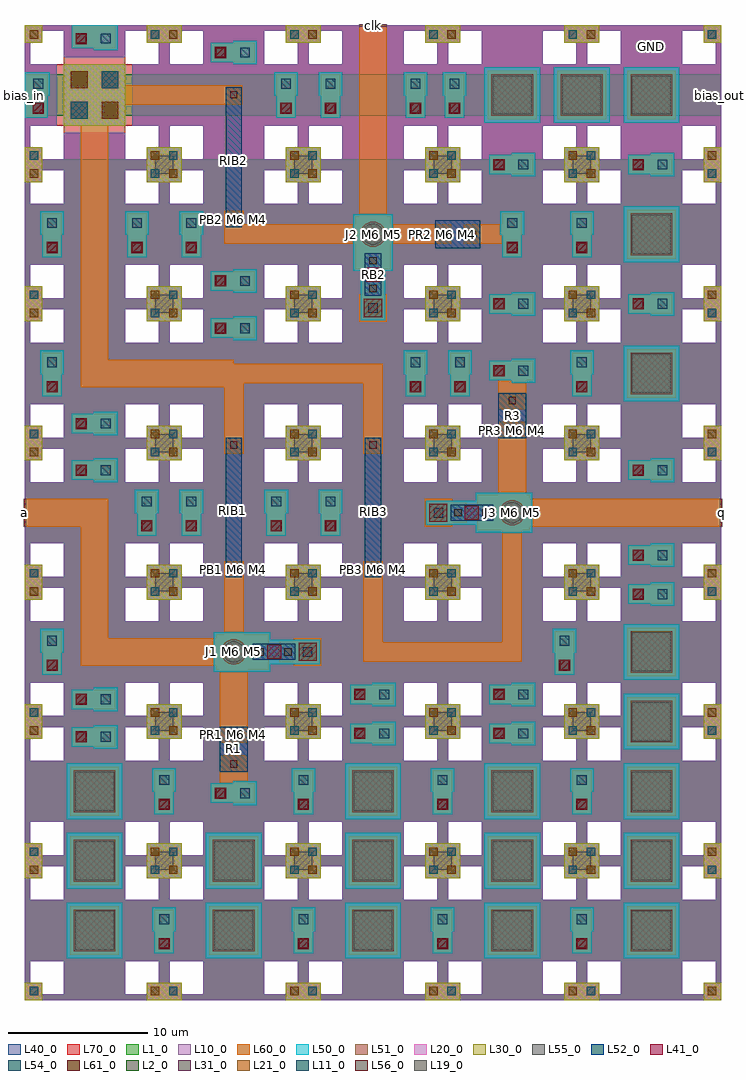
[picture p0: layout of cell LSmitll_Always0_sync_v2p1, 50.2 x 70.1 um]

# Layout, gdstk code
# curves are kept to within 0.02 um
from math import pi, radians
import gdstk
lib = gdstk.Library(unit=1e-6, precision=1e-09)
def R(c, l, rs):  # rectangles x0, y0, x1, y1
    for r in rs: c.add(gdstk.rectangle(r[:2], r[2:], *l))
def P(c, l, *ps):  # polygons
    for p in ps: c.add(gdstk.Polygon(p, *l))
L1_0 = (1, 0)
L2_0 = (2, 0)
L10_0 = (10, 0)
L11_0 = (11, 0)
L19_0 = (19, 0)
L20_0 = (20, 0)
L21_0 = (21, 0)
L30_0 = (30, 0)
L31_0 = (31, 0)
L40_0 = (40, 0)
L41_0 = (41, 0)
L50_0 = (50, 0)
L51_0 = (51, 0)
L52_0 = (52, 0)
L54_0 = (54, 0)
L55_0 = (55, 0)
L56_0 = (56, 0)
L60_0 = (60, 0)
L61_0 = (61, 0)
L70_0 = (70, 0)

ls_tr_m0 = lib.new_cell('ls_tr_M0')
P(ls_tr_m0, L1_0, [(0,0),(0,10),(1.25,10),(1.25,8.75),(0.4,8.75),(0.4,1.25),(1.25,1.25),(1.25,0.4),(2.8,0.4),(2.8,2.8),(0.4,2.8),(0.4,7.2),(2.8,7.2),(2.8,9.6),(1.25,9.6),(1.25,10),(7.2,10),(7.2,0.4),(8.75,0.4),(8.75,1.25),(9.6,1.25),(9.6,2.8),(7.2,2.8),(7.2,7.2),(9.6,7.2),(9.6,8.75),(8.75,8.75),(8.75,9.6),(7.2,9.6),(7.2,10),(10,10),(10,0)])

ls_ib_175 = lib.new_cell('ls_ib_175')
R(ls_ib_175, L52_0, [(-0.575,0,0.575,10.05)])
R(ls_ib_175, L56_0, [(-0.26,0.29,0.26,0.81), (-0.26,9.26,0.26,9.78)])
R(ls_ib_175, L60_0, [(-0.625,-0.1,0.625,1.175), (-0.625,8.875,0.625,10.15)])

ls_tr_m7 = lib.new_cell('ls_tr_M7')
P(ls_tr_m7, L70_0, [(0,0),(0,10),(1.25,10),(1.25,8.75),(0.4,8.75),(0.4,1.25),(1.25,1.25),(1.25,0.4),(2.8,0.4),(2.8,2.8),(0.4,2.8),(0.4,7.2),(2.8,7.2),(2.8,9.6),(1.25,9.6),(1.25,10),(7.2,10),(7.2,0.4),(8.75,0.4),(8.75,1.25),(9.6,1.25),(9.6,2.8),(7.2,2.8),(7.2,7.2),(9.6,7.2),(9.6,8.75),(8.75,8.75),(8.75,9.6),(7.2,9.6),(7.2,10),(10,10),(10,0)])

ls_tr_u_m4_alt = lib.new_cell('ls_tr_u_M4_alt')
R(ls_tr_u_m4_alt, L1_0, [(0,0,1.25,1.25), (8.75,0,10,1.25), (0,8.75,1.25,10), (8.75,8.75,10,10)])
R(ls_tr_u_m4_alt, L2_0, [(9.05,0.35,9.65,0.95), (0.35,9.05,0.95,9.65)])
R(ls_tr_u_m4_alt, L10_0, [(0,0,1.25,1.25), (1.25,0,8.75,0.4), (8.75,0,10,1.25), (2.8,0.4,7.2,9.6), (0,1.25,0.4,8.75), (9.6,1.25,10,8.75), (0.4,2.8,2.8,7.2), (7.2,2.8,9.6,7.2), (0,8.75,1.25,10), (8.75,8.75,10,10), (1.25,9.6,8.75,10)])
R(ls_tr_u_m4_alt, L11_0, [(0.35,0.35,0.95,0.95), (9.05,9.05,9.65,9.65)])
R(ls_tr_u_m4_alt, L20_0, [(0,0,1.25,1.25), (8.75,0,10,1.25), (0,8.75,1.25,10), (8.75,8.75,10,10)])
R(ls_tr_u_m4_alt, L21_0, [(9.05,0.35,9.65,0.95), (0.35,9.05,0.95,9.65)])
R(ls_tr_u_m4_alt, L30_0, [(0,0,1.25,1.25), (8.75,0,10,1.25), (0,8.75,1.25,10), (8.75,8.75,10,10)])
R(ls_tr_u_m4_alt, L31_0, [(0.35,0.35,0.95,0.95), (9.05,9.05,9.65,9.65)])
P(ls_tr_u_m4_alt, L40_0, [(0,0),(0,10),(1.25,10),(1.25,8.75),(0.4,8.75),(0.4,1.25),(1.25,1.25),(1.25,0.4),(2.8,0.4),(2.8,2.8),(0.4,2.8),(0.4,7.2),(2.8,7.2),(2.8,9.6),(1.25,9.6),(1.25,10),(7.2,10),(7.2,0.4),(8.75,0.4),(8.75,1.25),(9.6,1.25),(9.6,2.8),(7.2,2.8),(7.2,7.2),(9.6,7.2),(9.6,8.75),(8.75,8.75),(8.75,9.6),(7.2,9.6),(7.2,10),(10,10),(10,0)])
ls_tr_u_m4_alt.add(gdstk.Reference(ls_tr_m7, (0,0)))

ls_conn_m5m6m7 = lib.new_cell('ls_conn_M5M6M7')
R(ls_conn_m5m6m7, L50_0, [(-0.5,-0.5,1.2,1.2)])
R(ls_conn_m5m6m7, L54_0, [(0,0,0.7,0.7)])
R(ls_conn_m5m6m7, L60_0, [(-0.65,-0.65,1.35,1.35)])
R(ls_conn_m5m6m7, L61_0, [(-0.3,-0.3,1,1)])
R(ls_conn_m5m6m7, L70_0, [(-0.65,-0.65,1.35,1.35)])

ls_jj_250_sg = lib.new_cell('ls_jj_250_sg')
R(ls_jj_250_sg, L41_0, [(-0.5,2.4,0.5,3.4)])
R(ls_jj_250_sg, L50_0, [(-1.425,-1.425,1.425,2.625), (-0.875,2.625,0.875,6.175)])
P(ls_jj_250_sg, L51_0, [(0,-0.91),(-0.18,-0.895),(-0.35,-0.84),(-0.645,-0.645),(-0.84,-0.35),(-0.91,0),(-0.895,0.18),(-0.84,0.35),(-0.645,0.645),(-0.35,0.84),(-0.18,0.895),(0,0.91),(0.18,0.895),(0.35,0.84),(0.645,0.645),(0.84,0.35),(0.895,0.18),(0.91,0),(0.84,-0.35),(0.645,-0.645),(0.35,-0.84),(0.18,-0.895)])
R(ls_jj_250_sg, L52_0, [(-0.575,1.35,0.575,4.425)])
R(ls_jj_250_sg, L54_0, [(-0.35,4.95,0.35,5.65)])
P(ls_jj_250_sg, L55_0, [(0,-0.76),(-0.15,-0.75),(-0.29,-0.7),(-0.54,-0.54),(-0.7,-0.29),(-0.75,-0.15),(-0.76,0),(-0.75,0.15),(-0.7,0.29),(-0.54,0.54),(-0.29,0.7),(-0.15,0.75),(0,0.76),(0.15,0.75),(0.29,0.7),(0.54,0.54),(0.7,0.29),(0.75,0.15),(0.76,0),(0.75,-0.15),(0.7,-0.29),(0.54,-0.54),(0.29,-0.7),(0.15,-0.75)])
R(ls_jj_250_sg, L56_0, [(-0.26,1.64,0.26,2.16), (-0.26,3.63,0.26,4.15)])
R(ls_jj_250_sg, L60_0, [(-1.275,-1.275,1.275,2.525), (-0.725,3.25,0.725,6.025)])
ls_jj_250_sg.add(gdstk.Reference(ls_conn_m5m6m7, (-0.35,4.95)))

ls_conn_m4m5m6m7 = lib.new_cell('ls_conn_M4M5M6M7')
R(ls_conn_m4m5m6m7, L40_0, [(0,0,1.4,1.4)])
R(ls_conn_m4m5m6m7, L41_0, [(0.3,0.3,1.1,1.1)])
P(ls_conn_m4m5m6m7, L50_0, [(1.6,-0.15),(1.6,0),(0,0),(0,1.4),(1.6,1.4),(1.6,1.55),(3.3,1.55),(3.3,-0.15)])
R(ls_conn_m4m5m6m7, L54_0, [(2.1,0.35,2.8,1.05)])
R(ls_conn_m4m5m6m7, L60_0, [(0,0,3.15,1.4)])
R(ls_conn_m4m5m6m7, L61_0, [(0.35,0.35,1.05,1.05)])
R(ls_conn_m4m5m6m7, L70_0, [(0,0,1.4,1.4)])

ls_fakejj_3umx3um = lib.new_cell('ls_FakeJJ_3umx3um')
R(ls_fakejj_3umx3um, L40_0, [(-2,-2,2,2)])
R(ls_fakejj_3umx3um, L50_0, [(-2,-2,2,2)])
R(ls_fakejj_3umx3um, L51_0, [(-1.5,-1.5,1.5,1.5)])
R(ls_fakejj_3umx3um, L55_0, [(-1.4,-1.4,1.4,1.4)])
R(ls_fakejj_3umx3um, L60_0, [(-1.75,-1.75,1.75,1.75)])

ls_fakejj_1p5x1p5um = lib.new_cell('ls_FakeJJ_1p5x1p5um')
R(ls_fakejj_1p5x1p5um, L40_0, [(-1.25,-1.25,1.25,1.25)])
R(ls_fakejj_1p5x1p5um, L50_0, [(-1.25,-1.25,1.25,1.25)])
R(ls_fakejj_1p5x1p5um, L51_0, [(-0.75,-0.75,0.75,0.75)])
R(ls_fakejj_1p5x1p5um, L55_0, [(-0.65,-0.65,0.65,0.65)])
R(ls_fakejj_1p5x1p5um, L60_0, [(-1,-1,1,1)])

ls_res_2 = lib.new_cell('ls_res_2')
R(ls_res_2, L52_0, [(-1,0,1,3.225)])
R(ls_res_2, L56_0, [(-0.26,0.29,0.26,0.81), (-0.26,2.44,0.26,2.96)])
R(ls_res_2, L60_0, [(-0.625,-0.1,0.625,1.175), (-0.625,2.075,0.625,3.325)])

ls_tr_bias_pillar_m0m6 = lib.new_cell('ls_tr_bias_pillar_M0M6')
R(ls_tr_bias_pillar_m0m6, L1_0, [(0,0,1.25,1.25), (8.75,0,10,1.25), (2.8,2.8,7.2,7.2), (0,8.75,1.25,10), (8.75,8.75,10,10)])
R(ls_tr_bias_pillar_m0m6, L2_0, [(9.05,0.35,9.65,0.95), (5.5,3.3,6.7,4.5), (3.3,5.5,4.5,6.7), (0.35,9.05,0.95,9.65)])
R(ls_tr_bias_pillar_m0m6, L10_0, [(0,0,1.25,1.25), (8.75,0,10,1.25), (2.8,2.8,7.2,7.2), (0,8.75,1.25,10), (8.75,8.75,10,10)])
P(ls_tr_bias_pillar_m0m6, L10_0, [(0,0),(0,10),(7.2,10),(7.2,7.7),(2.8,7.7),(2.8,9.6),(1.25,9.6),(1.25,8.75),(0.4,8.75),(0.4,7.2),(2.3,7.2),(2.3,2.8),(0.4,2.8),(0.4,1.25),(1.25,1.25),(1.25,0.4),(2.8,0.4),(2.8,2.3),(7.2,2.3),(7.2,0.4),(8.75,0.4),(8.75,1.25),(9.6,1.25),(9.6,2.8),(7.7,2.8),(7.7,7.2),(9.6,7.2),(9.6,8.75),(8.75,8.75),(8.75,9.6),(7.2,9.6),(7.2,10),(10,10),(10,0)])
R(ls_tr_bias_pillar_m0m6, L11_0, [(0.35,0.35,0.95,0.95), (3.3,3.3,4.5,4.5), (5.5,5.5,6.7,6.7), (9.05,9.05,9.65,9.65)])
R(ls_tr_bias_pillar_m0m6, L20_0, [(0,0,1.25,1.25), (8.75,0,10,1.25), (2.8,2.8,7.2,7.2), (0,8.75,1.25,10), (8.75,8.75,10,10)])
R(ls_tr_bias_pillar_m0m6, L21_0, [(9.05,0.35,9.65,0.95), (5.5,3.3,6.7,4.5), (3.3,5.5,4.5,6.7), (0.35,9.05,0.95,9.65)])
R(ls_tr_bias_pillar_m0m6, L30_0, [(0,0,1.25,1.25), (8.75,0,10,1.25), (2.8,2.8,7.2,7.2), (0,8.75,1.25,10), (8.75,8.75,10,10)])
R(ls_tr_bias_pillar_m0m6, L31_0, [(0.35,0.35,0.95,0.95), (3.3,3.3,4.5,4.5), (5.5,5.5,6.7,6.7), (9.05,9.05,9.65,9.65)])
R(ls_tr_bias_pillar_m0m6, L40_0, [(2.8,2.8,7.2,7.2)])
P(ls_tr_bias_pillar_m0m6, L40_0, [(0,0),(0,10),(7.2,10),(7.2,7.7),(2.8,7.7),(2.8,9.6),(1.25,9.6),(1.25,8.75),(0.4,8.75),(0.4,7.2),(2.3,7.2),(2.3,2.8),(0.4,2.8),(0.4,1.25),(1.25,1.25),(1.25,0.4),(2.8,0.4),(2.8,2.3),(7.2,2.3),(7.2,0.4),(8.75,0.4),(8.75,1.25),(9.6,1.25),(9.6,2.8),(7.7,2.8),(7.7,7.2),(9.6,7.2),(9.6,8.75),(8.75,8.75),(8.75,9.6),(7.2,9.6),(7.2,10),(10,10),(10,0)])
R(ls_tr_bias_pillar_m0m6, L41_0, [(5.5,3.3,6.7,4.5), (3.3,5.5,4.5,6.7)])
R(ls_tr_bias_pillar_m0m6, L50_0, [(2.8,2.8,7.2,7.2)])
R(ls_tr_bias_pillar_m0m6, L54_0, [(3.3,3.3,4.5,4.5), (5.5,5.5,6.7,6.7)])
R(ls_tr_bias_pillar_m0m6, L60_0, [(2.8,2.8,7.2,7.2)])
P(ls_tr_bias_pillar_m0m6, L70_0, [(0,0),(0,10),(1.25,10),(1.25,8.75),(0.4,8.75),(0.4,1.25),(1.25,1.25),(1.25,0.4),(2.8,0.4),(2.8,2.8),(0.4,2.8),(0.4,7.2),(2.8,7.2),(2.8,9.6),(1.25,9.6),(1.25,10),(7.2,10),(7.2,0.4),(8.75,0.4),(8.75,1.25),(9.6,1.25),(9.6,2.8),(7.2,2.8),(7.2,7.2),(9.6,7.2),(9.6,8.75),(8.75,8.75),(8.75,9.6),(7.2,9.6),(7.2,10),(10,10),(10,0)])

lsmitll_always0_sync_v2p = lib.new_cell('LSmitll_Always0_sync_v2p1')
R(lsmitll_always0_sync_v2p, L1_0, [(1.25,60,48.75,60.4)])
R(lsmitll_always0_sync_v2p, L19_0, [(14.74,18.84,15.26,19.36), (14.74,30.64,15.26,31.16), (24.74,30.64,25.26,31.16), (34.74,40.64,35.26,41.16), (29.74,54.74,30.26,55.26), (14.74,55.79,15.26,56.31)])
R(lsmitll_always0_sync_v2p, L50_0, [(0,63.35,0.25,66.65), (3.35,69.75,6.65,70)])
R(lsmitll_always0_sync_v2p, L60_0, [(0,63.35,0.25,66.5), (3.35,69.75,6.5,70)])
lsmitll_always0_sync_v2p.add(gdstk.FlexPath([(31.525,55),(34.3,55)], 1.4, ends="flush", simple_path=True, layer=60, datatype=0))  # L60_0
lsmitll_always0_sync_v2p.add(gdstk.FlexPath([(26.275,55),(30.625,55)], 1.4, ends="flush", simple_path=True, layer=60, datatype=0))  # L60_0
lsmitll_always0_sync_v2p.add(gdstk.FlexPath([(15,18.475),(15,23.725)], 2, ends="flush", simple_path=True, layer=60, datatype=0))  # L60_0
lsmitll_always0_sync_v2p.add(gdstk.FlexPath([(50,35),(36.25,35)], 2, ends="flush", simple_path=True, layer=60, datatype=0))  # L60_0
lsmitll_always0_sync_v2p.add(gdstk.FlexPath([(35,36.275),(35,41.525)], 2, ends="flush", simple_path=True, layer=60, datatype=0))  # L60_0
lsmitll_always0_sync_v2p.add(gdstk.FlexPath([(13.725,25),(5,25),(5,35),(0,35)], 2, ends="flush", simple_path=True, layer=60, datatype=0))  # L60_0
lsmitll_always0_sync_v2p.add(gdstk.FlexPath([(35,33.725),(35,25),(25,25),(25,31.525)], 1.4, ends="flush", simple_path=True, layer=60, datatype=0))  # L60_0
lsmitll_always0_sync_v2p.add(gdstk.FlexPath([(15,26.275),(15,31.525)], 1.4, ends="flush", simple_path=True, layer=60, datatype=0))  # L60_0
lsmitll_always0_sync_v2p.add(gdstk.FlexPath([(25,56.275),(25,70)], 2, ends="flush", simple_path=True, layer=60, datatype=0))  # L60_0
lsmitll_always0_sync_v2p.add(gdstk.FlexPath([(5,65),(15.625,65)], 1.4, ends="flush", simple_path=True, layer=60, datatype=0))  # L60_0
lsmitll_always0_sync_v2p.add(gdstk.FlexPath([(23.725,55),(15,55),(15,56.675)], 1.4, ends="flush", simple_path=True, layer=60, datatype=0))  # L60_0
lsmitll_always0_sync_v2p.add(gdstk.FlexPath([(5,65),(5,45),(15,45)], 2, ends="flush", simple_path=True, layer=60, datatype=0))  # L60_0
lsmitll_always0_sync_v2p.add(gdstk.FlexPath([(15,39.225),(15,45)], 1.4, ends="flush", simple_path=True, layer=60, datatype=0))  # L60_0
lsmitll_always0_sync_v2p.add(gdstk.FlexPath([(25,39.225),(25,45),(15,45)], 1.4, ends="flush", simple_path=True, layer=60, datatype=0))  # L60_0
lsmitll_always0_sync_v2p.add(gdstk.FlexPath([(15,17.575),(15,15.55)], 2, ends="flush", simple_path=True, layer=60, datatype=0))  # L60_0
lsmitll_always0_sync_v2p.add(gdstk.FlexPath([(35,42.425),(35,44.5)], 2, ends="flush", simple_path=True, layer=60, datatype=0))  # L60_0
lsmitll_always0_sync_v2p.add(gdstk.FlexPath([(0,65),(50,65)], 3, ends="flush", simple_path=True, layer=1, datatype=0))  # L1_0
lsmitll_always0_sync_v2p.add(gdstk.FlexPath([(0,34),(0,36)], 0.2, ends="flush", simple_path=True, layer=19, datatype=0))  # L19_0
lsmitll_always0_sync_v2p.add(gdstk.FlexPath([(50,34),(50,36)], 0.2, ends="flush", simple_path=True, layer=19, datatype=0))  # L19_0
lsmitll_always0_sync_v2p.add(gdstk.FlexPath([(24,70),(26,70)], 0.2, ends="flush", simple_path=True, layer=19, datatype=0))  # L19_0
r = gdstk.Reference(ls_tr_m0, (0,0)); r.repetition = gdstk.Repetition(5, 6, v1=(10,0), v2=(0,10)); lsmitll_always0_sync_v2p.add(r)
lsmitll_always0_sync_v2p.add(gdstk.Reference(ls_ib_175, (25,30.35)))
lsmitll_always0_sync_v2p.add(gdstk.Reference(ls_tr_u_m4_alt, (40,30)))
lsmitll_always0_sync_v2p.add(gdstk.Reference(ls_tr_u_m4_alt, (30,30)))
lsmitll_always0_sync_v2p.add(gdstk.Reference(ls_tr_u_m4_alt, (20,0)))
lsmitll_always0_sync_v2p.add(gdstk.Reference(ls_tr_u_m4_alt, (20,10)))
lsmitll_always0_sync_v2p.add(gdstk.Reference(ls_tr_u_m4_alt, (20,20)))
lsmitll_always0_sync_v2p.add(gdstk.Reference(ls_tr_u_m4_alt, (20,30)))
lsmitll_always0_sync_v2p.add(gdstk.Reference(ls_tr_u_m4_alt, (20,40)))
lsmitll_always0_sync_v2p.add(gdstk.Reference(ls_tr_u_m4_alt, (20,50)))
lsmitll_always0_sync_v2p.add(gdstk.Reference(ls_tr_u_m4_alt, (20,60)))
lsmitll_always0_sync_v2p.add(gdstk.Reference(ls_tr_u_m4_alt, (10,30)))
lsmitll_always0_sync_v2p.add(gdstk.Reference(ls_tr_u_m4_alt, (0,30)))
lsmitll_always0_sync_v2p.add(gdstk.Reference(ls_jj_250_sg, (35,35), rotation=pi/2))
lsmitll_always0_sync_v2p.add(gdstk.Reference(ls_jj_250_sg, (25,55), rotation=pi))
lsmitll_always0_sync_v2p.add(gdstk.Reference(ls_ib_175, (15,30.35)))
lsmitll_always0_sync_v2p.add(gdstk.Reference(ls_conn_m4m5m6m7, (23.35,21.25)))
lsmitll_always0_sync_v2p.add(gdstk.Reference(ls_conn_m4m5m6m7, (18.75,33.35), rotation=pi/2))
lsmitll_always0_sync_v2p.add(gdstk.Reference(ls_conn_m4m5m6m7, (22.65,33.35), rotation=pi/2))
lsmitll_always0_sync_v2p.add(gdstk.Reference(ls_conn_m4m5m6m7, (12.65,33.35), rotation=pi/2))
lsmitll_always0_sync_v2p.add(gdstk.Reference(ls_conn_m4m5m6m7, (9.45,33.35), rotation=pi/2))
lsmitll_always0_sync_v2p.add(gdstk.Reference(ls_fakejj_3umx3um, (25,5)))
lsmitll_always0_sync_v2p.add(gdstk.Reference(ls_fakejj_3umx3um, (25,15)))
lsmitll_always0_sync_v2p.add(gdstk.Reference(ls_fakejj_3umx3um, (25,10)))
lsmitll_always0_sync_v2p.add(gdstk.Reference(ls_conn_m4m5m6m7, (23.35,18.45)))
lsmitll_always0_sync_v2p.add(gdstk.Reference(ls_fakejj_1p5x1p5um, (30,40)))
lsmitll_always0_sync_v2p.add(gdstk.Reference(ls_fakejj_1p5x1p5um, (30,50)))
lsmitll_always0_sync_v2p.add(gdstk.Reference(ls_fakejj_1p5x1p5um, (40,50)))
lsmitll_always0_sync_v2p.add(gdstk.Reference(ls_fakejj_1p5x1p5um, (40,60)))
lsmitll_always0_sync_v2p.add(gdstk.Reference(ls_fakejj_1p5x1p5um, (30,60)))
lsmitll_always0_sync_v2p.add(gdstk.Reference(ls_conn_m4m5m6m7, (33.35,44.5)))
lsmitll_always0_sync_v2p.add(gdstk.Reference(ls_fakejj_3umx3um, (45,45)))
lsmitll_always0_sync_v2p.add(gdstk.Reference(ls_fakejj_3umx3um, (45,55)))
lsmitll_always0_sync_v2p.add(gdstk.Reference(ls_tr_u_m4_alt, (40,40)))
lsmitll_always0_sync_v2p.add(gdstk.Reference(ls_res_2, (32.7,55), rotation=pi/2))
lsmitll_always0_sync_v2p.add(gdstk.Reference(ls_res_2, (35,40.35)))
lsmitll_always0_sync_v2p.add(gdstk.Reference(ls_conn_m4m5m6m7, (43.35,37.35)))
lsmitll_always0_sync_v2p.add(gdstk.Reference(ls_conn_m4m5m6m7, (28.75,63.35), rotation=pi/2))
lsmitll_always0_sync_v2p.add(gdstk.Reference(ls_tr_u_m4_alt, (40,50)))
lsmitll_always0_sync_v2p.add(gdstk.Reference(ls_conn_m4m5m6m7, (35.7,53.35), rotation=pi/2))
lsmitll_always0_sync_v2p.add(gdstk.Reference(ls_conn_m4m5m6m7, (28.75,43.35), rotation=pi/2))
lsmitll_always0_sync_v2p.add(gdstk.Reference(ls_tr_u_m4_alt, (40,60)))
lsmitll_always0_sync_v2p.add(gdstk.Reference(ls_tr_u_m4_alt, (30,60)))
lsmitll_always0_sync_v2p.add(gdstk.Reference(ls_tr_u_m4_alt, (30,50)))
lsmitll_always0_sync_v2p.add(gdstk.Reference(ls_tr_u_m4_alt, (30,40)))
lsmitll_always0_sync_v2p.add(gdstk.Reference(ls_conn_m4m5m6m7, (33.35,49.3)))
lsmitll_always0_sync_v2p.add(gdstk.Reference(ls_conn_m4m5m6m7, (33.35,59.3)))
lsmitll_always0_sync_v2p.add(gdstk.Reference(ls_conn_m4m5m6m7, (43.35,59.3)))
lsmitll_always0_sync_v2p.add(gdstk.Reference(ls_conn_m4m5m6m7, (43.35,49.3)))
lsmitll_always0_sync_v2p.add(gdstk.Reference(ls_conn_m4m5m6m7, (40.7,43.35), rotation=pi/2))
lsmitll_always0_sync_v2p.add(gdstk.Reference(ls_conn_m4m5m6m7, (40.7,53.35), rotation=pi/2))
lsmitll_always0_sync_v2p.add(gdstk.Reference(ls_fakejj_3umx3um, (45,65)))
lsmitll_always0_sync_v2p.add(gdstk.Reference(ls_fakejj_3umx3um, (40,65)))
lsmitll_always0_sync_v2p.add(gdstk.Reference(ls_fakejj_3umx3um, (35,65)))
lsmitll_always0_sync_v2p.add(gdstk.Reference(ls_conn_m4m5m6m7, (31.55,63.35), rotation=pi/2))
lsmitll_always0_sync_v2p.add(gdstk.Reference(ls_conn_m4m5m6m7, (31.95,43.35), rotation=pi/2))
lsmitll_always0_sync_v2p.add(gdstk.Reference(ls_fakejj_1p5x1p5um, (40,40)))
lsmitll_always0_sync_v2p.add(gdstk.Reference(ls_conn_m4m5m6m7, (12.65,53.35), rotation=pi/2))
lsmitll_always0_sync_v2p.add(gdstk.Reference(ls_conn_m4m5m6m7, (2.65,53.35), rotation=pi/2))
lsmitll_always0_sync_v2p.add(gdstk.Reference(ls_conn_m4m5m6m7, (1.65,63.35), rotation=pi/2))
lsmitll_always0_sync_v2p.add(gdstk.Reference(ls_conn_m4m5m6m7, (3.35,68.35)))
lsmitll_always0_sync_v2p.add(gdstk.Reference(ls_conn_m4m5m6m7, (13.35,67.35)))
lsmitll_always0_sync_v2p.add(gdstk.Reference(ls_conn_m4m5m6m7, (19.45,63.35), rotation=pi/2))
lsmitll_always0_sync_v2p.add(gdstk.Reference(ls_conn_m4m5m6m7, (13.35,50.95)))
lsmitll_always0_sync_v2p.add(gdstk.Reference(ls_conn_m4m5m6m7, (13.35,47.55)))
lsmitll_always0_sync_v2p.add(gdstk.Reference(ls_tr_u_m4_alt, (0,40)))
lsmitll_always0_sync_v2p.add(gdstk.Reference(ls_conn_m4m5m6m7, (2.65,43.35), rotation=pi/2))
lsmitll_always0_sync_v2p.add(gdstk.Reference(ls_tr_u_m4_alt, (0,50)))
lsmitll_always0_sync_v2p.add(gdstk.Reference(ls_fakejj_1p5x1p5um, (10,40)))
lsmitll_always0_sync_v2p.add(gdstk.Reference(ls_fakejj_1p5x1p5um, (20,50)))
lsmitll_always0_sync_v2p.add(gdstk.Reference(ls_ib_175, (15,55.5)))
lsmitll_always0_sync_v2p.add(gdstk.Reference(ls_fakejj_1p5x1p5um, (10,50)))
lsmitll_always0_sync_v2p.add(gdstk.Reference(ls_fakejj_1p5x1p5um, (20,60)))
lsmitll_always0_sync_v2p.add(gdstk.Reference(ls_tr_u_m4_alt, (10,60)))
lsmitll_always0_sync_v2p.add(gdstk.Reference(ls_tr_bias_pillar_m0m6, (0,60)))
lsmitll_always0_sync_v2p.add(gdstk.Reference(ls_conn_m4m5m6m7, (3.35,37.35)))
lsmitll_always0_sync_v2p.add(gdstk.Reference(ls_tr_u_m4_alt, (10,50)))
lsmitll_always0_sync_v2p.add(gdstk.Reference(ls_conn_m4m5m6m7, (3.35,40.7)))
lsmitll_always0_sync_v2p.add(gdstk.Reference(ls_tr_u_m4_alt, (10,40)))
lsmitll_always0_sync_v2p.add(gdstk.Reference(ls_conn_m4m5m6m7, (22.65,63.35), rotation=pi/2))
lsmitll_always0_sync_v2p.add(gdstk.Reference(ls_fakejj_1p5x1p5um, (10,60)))
lsmitll_always0_sync_v2p.add(gdstk.Reference(ls_fakejj_1p5x1p5um, (20,40)))
lsmitll_always0_sync_v2p.add(gdstk.Reference(ls_conn_m4m5m6m7, (8.75,53.35), rotation=pi/2))
lsmitll_always0_sync_v2p.add(gdstk.Reference(ls_conn_m4m5m6m7, (3.35,20.9)))
lsmitll_always0_sync_v2p.add(gdstk.Reference(ls_fakejj_1p5x1p5um, (20,10)))
lsmitll_always0_sync_v2p.add(gdstk.Reference(ls_res_2, (15,16.4)))
lsmitll_always0_sync_v2p.add(gdstk.Reference(ls_fakejj_1p5x1p5um, (20,20)))
lsmitll_always0_sync_v2p.add(gdstk.Reference(ls_conn_m4m5m6m7, (2.65,23.35), rotation=pi/2))
lsmitll_always0_sync_v2p.add(gdstk.Reference(ls_jj_250_sg, (15,25), rotation=3*pi/2))
lsmitll_always0_sync_v2p.add(gdstk.Reference(ls_fakejj_1p5x1p5um, (10,20)))
lsmitll_always0_sync_v2p.add(gdstk.Reference(ls_fakejj_1p5x1p5um, (10,30)))
lsmitll_always0_sync_v2p.add(gdstk.Reference(ls_fakejj_1p5x1p5um, (20,30)))
lsmitll_always0_sync_v2p.add(gdstk.Reference(ls_fakejj_1p5x1p5um, (10,10)))
lsmitll_always0_sync_v2p.add(gdstk.Reference(ls_tr_u_m4_alt, (10,20)))
lsmitll_always0_sync_v2p.add(gdstk.Reference(ls_conn_m4m5m6m7, (10.7,13.35), rotation=pi/2))
lsmitll_always0_sync_v2p.add(gdstk.Reference(ls_conn_m4m5m6m7, (20.7,13.35), rotation=pi/2))
lsmitll_always0_sync_v2p.add(gdstk.Reference(ls_conn_m4m5m6m7, (20.7,3.35), rotation=pi/2))
lsmitll_always0_sync_v2p.add(gdstk.Reference(ls_conn_m4m5m6m7, (10.7,3.35), rotation=pi/2))
lsmitll_always0_sync_v2p.add(gdstk.Reference(ls_tr_u_m4_alt, (10,10)))
lsmitll_always0_sync_v2p.add(gdstk.Reference(ls_tr_u_m4_alt, (10,0)))
lsmitll_always0_sync_v2p.add(gdstk.Reference(ls_fakejj_3umx3um, (5,15)))
lsmitll_always0_sync_v2p.add(gdstk.Reference(ls_fakejj_3umx3um, (5,5)))
lsmitll_always0_sync_v2p.add(gdstk.Reference(ls_fakejj_3umx3um, (15,5)))
lsmitll_always0_sync_v2p.add(gdstk.Reference(ls_conn_m4m5m6m7, (13.35,14.15)))
lsmitll_always0_sync_v2p.add(gdstk.Reference(ls_fakejj_3umx3um, (15,10)))
lsmitll_always0_sync_v2p.add(gdstk.Reference(ls_fakejj_3umx3um, (5,10)))
lsmitll_always0_sync_v2p.add(gdstk.Reference(ls_tr_u_m4_alt, (0,0)))
lsmitll_always0_sync_v2p.add(gdstk.Reference(ls_tr_u_m4_alt, (0,10)))
lsmitll_always0_sync_v2p.add(gdstk.Reference(ls_conn_m4m5m6m7, (3.35,18.2)))
lsmitll_always0_sync_v2p.add(gdstk.Reference(ls_tr_u_m4_alt, (0,20)))
lsmitll_always0_sync_v2p.add(gdstk.Reference(ls_fakejj_3umx3um, (45,15)))
lsmitll_always0_sync_v2p.add(gdstk.Reference(ls_fakejj_3umx3um, (45,25)))
lsmitll_always0_sync_v2p.add(gdstk.Reference(ls_tr_u_m4_alt, (30,20)))
lsmitll_always0_sync_v2p.add(gdstk.Reference(ls_tr_u_m4_alt, (30,10)))
lsmitll_always0_sync_v2p.add(gdstk.Reference(ls_conn_m4m5m6m7, (30.7,13.35), rotation=pi/2))
lsmitll_always0_sync_v2p.add(gdstk.Reference(ls_conn_m4m5m6m7, (40.7,13.35), rotation=pi/2))
lsmitll_always0_sync_v2p.add(gdstk.Reference(ls_conn_m4m5m6m7, (40.7,3.35), rotation=pi/2))
lsmitll_always0_sync_v2p.add(gdstk.Reference(ls_conn_m4m5m6m7, (30.7,3.35), rotation=pi/2))
lsmitll_always0_sync_v2p.add(gdstk.Reference(ls_tr_u_m4_alt, (30,0)))
lsmitll_always0_sync_v2p.add(gdstk.Reference(ls_fakejj_3umx3um, (45,5)))
lsmitll_always0_sync_v2p.add(gdstk.Reference(ls_fakejj_3umx3um, (35,15)))
lsmitll_always0_sync_v2p.add(gdstk.Reference(ls_fakejj_3umx3um, (35,5)))
lsmitll_always0_sync_v2p.add(gdstk.Reference(ls_conn_m4m5m6m7, (43.35,31.25)))
lsmitll_always0_sync_v2p.add(gdstk.Reference(ls_tr_u_m4_alt, (40,0)))
lsmitll_always0_sync_v2p.add(gdstk.Reference(ls_tr_u_m4_alt, (40,10)))
lsmitll_always0_sync_v2p.add(gdstk.Reference(ls_tr_u_m4_alt, (40,20)))
lsmitll_always0_sync_v2p.add(gdstk.Reference(ls_fakejj_1p5x1p5um, (30,10)))
lsmitll_always0_sync_v2p.add(gdstk.Reference(ls_fakejj_3umx3um, (45,10)))
lsmitll_always0_sync_v2p.add(gdstk.Reference(ls_fakejj_3umx3um, (35,10)))
lsmitll_always0_sync_v2p.add(gdstk.Reference(ls_conn_m4m5m6m7, (33.35,21.25)))
lsmitll_always0_sync_v2p.add(gdstk.Reference(ls_fakejj_1p5x1p5um, (30,30)))
lsmitll_always0_sync_v2p.add(gdstk.Reference(ls_conn_m4m5m6m7, (39.45,23.35), rotation=pi/2))
lsmitll_always0_sync_v2p.add(gdstk.Reference(ls_fakejj_3umx3um, (45,20)))
lsmitll_always0_sync_v2p.add(gdstk.Reference(ls_fakejj_1p5x1p5um, (40,30)))
lsmitll_always0_sync_v2p.add(gdstk.Reference(ls_fakejj_1p5x1p5um, (40,10)))
lsmitll_always0_sync_v2p.add(gdstk.Reference(ls_conn_m4m5m6m7, (43.35,28.45)))
lsmitll_always0_sync_v2p.add(gdstk.Reference(ls_fakejj_1p5x1p5um, (40,20)))
lsmitll_always0_sync_v2p.add(gdstk.Reference(ls_fakejj_1p5x1p5um, (30,20)))
lsmitll_always0_sync_v2p.add(gdstk.Reference(ls_conn_m4m5m6m7, (33.35,18.45)))
lsmitll_always0_sync_v2p.add(gdstk.Label('bias_out', (50,65), layer=182, texttype=0))
lsmitll_always0_sync_v2p.add(gdstk.Label('bias_in', (0,65), layer=182, texttype=0))
lsmitll_always0_sync_v2p.add(gdstk.Label('clk', (25,70), layer=182, texttype=0))
lsmitll_always0_sync_v2p.add(gdstk.Label('q', (50,35), layer=182, texttype=0))
lsmitll_always0_sync_v2p.add(gdstk.Label('a', (0,35), layer=182, texttype=0))
lsmitll_always0_sync_v2p.add(gdstk.Label('P1 M6 M4', (0,35), layer=182, texttype=0))
lsmitll_always0_sync_v2p.add(gdstk.Label('J1 M6 M5', (15,25), layer=182, texttype=0))
lsmitll_always0_sync_v2p.add(gdstk.Label('PR1 M6 M4', (15,19.1), layer=182, texttype=0))
lsmitll_always0_sync_v2p.add(gdstk.Label('PB1 M6 M4', (15,30.9), layer=182, texttype=0))
lsmitll_always0_sync_v2p.add(gdstk.Label('P2 M6 M4', (25,70), layer=182, texttype=0))
lsmitll_always0_sync_v2p.add(gdstk.Label('J2 M6 M5', (25,55), layer=182, texttype=0))
lsmitll_always0_sync_v2p.add(gdstk.Label('PR2 M6 M4', (30,55), layer=182, texttype=0))
lsmitll_always0_sync_v2p.add(gdstk.Label('PB2 M6 M4', (15,56.05), layer=182, texttype=0))
lsmitll_always0_sync_v2p.add(gdstk.Label('P3 M6 M4', (50,35), layer=182, texttype=0))
lsmitll_always0_sync_v2p.add(gdstk.Label('J3 M6 M5', (35,35), layer=182, texttype=0))
lsmitll_always0_sync_v2p.add(gdstk.Label('PB3 M6 M4', (25,30.9), layer=182, texttype=0))
lsmitll_always0_sync_v2p.add(gdstk.Label('PR3 M6 M4', (35,40.9), layer=182, texttype=0))
lsmitll_always0_sync_v2p.add(gdstk.Label('VDD', (48.525,65), layer=1, texttype=1))
lsmitll_always0_sync_v2p.add(gdstk.Label('GND', (44.975,68.45), layer=40, texttype=1))
lsmitll_always0_sync_v2p.add(gdstk.Label('a', (0.05,34.05), layer=60, texttype=1))
lsmitll_always0_sync_v2p.add(gdstk.Label('clk', (24.075,69.95), layer=60, texttype=1))
lsmitll_always0_sync_v2p.add(gdstk.Label('q', (49.95,34.075), layer=60, texttype=1))
lsmitll_always0_sync_v2p.add(gdstk.Label('RIB1', (14.925,35.15), layer=52, texttype=1))
lsmitll_always0_sync_v2p.add(gdstk.Label('RIB2', (15,60.275), layer=52, texttype=1))
lsmitll_always0_sync_v2p.add(gdstk.Label('RIB3', (25.025,35.075), layer=52, texttype=1))
lsmitll_always0_sync_v2p.add(gdstk.Label('RB1', (17.875,25.05), layer=52, texttype=1))
lsmitll_always0_sync_v2p.add(gdstk.Label('RB2', (25,52.075), layer=52, texttype=1))
lsmitll_always0_sync_v2p.add(gdstk.Label('RB3', (32.15,35), layer=52, texttype=1))
lsmitll_always0_sync_v2p.add(gdstk.Label('R1', (14.975,18.05), layer=52, texttype=1))
lsmitll_always0_sync_v2p.add(gdstk.Label('R2', (31.1,55.025), layer=52, texttype=1))
lsmitll_always0_sync_v2p.add(gdstk.Label('R3', (35,42), layer=52, texttype=1))

lib.write_gds('LSmitll_Always0_sync_v2p1.gds')
